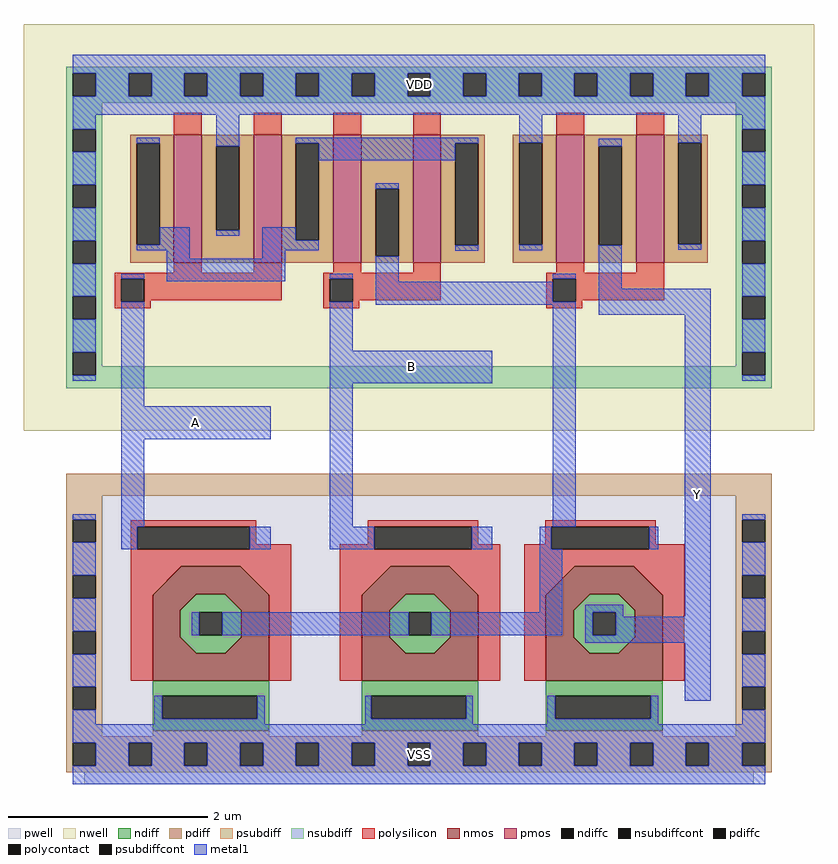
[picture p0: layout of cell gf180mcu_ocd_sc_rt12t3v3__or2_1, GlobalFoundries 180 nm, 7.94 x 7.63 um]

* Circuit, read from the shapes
.subckt gf180mcu_ocd_sc_rt12t3v3__or2_1 VDD VSS Y B A
XM1 n1 A VSS VSS nfet_03v3 w=1.785u l=0.5393u
XM2 n1 B VSS VSS nfet_03v3 w=1.785u l=0.5292u
XM3 Y n1 VSS VSS nfet_03v3 w=1.785u l=0.5319u
XM4 VDD A n2 VDD pfet_03v3 w=1.285u l=0.28u m=2
XM5 n1 B n2 VDD pfet_03v3 w=1.285u l=0.28u m=2
XM6 Y n1 VDD VDD pfet_03v3 w=1.285u l=0.28u m=2
.ends

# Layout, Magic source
magic
tech gf180mcuD
magscale 1 10
<< nwell >>
rect -122 649 1466 1466
<< pwell >>
rect -36 -36 1380 563
rect 0 -60 1344 -36
<< nmos >>
tri 137 319 195 377 se
rect 195 321 313 377
rect 195 319 223 321
tri 223 319 225 321 nw
tri 283 319 285 321 ne
rect 285 319 313 321
tri 313 319 371 377 sw
rect 137 203 193 319
tri 193 289 223 319 nw
tri 285 289 315 319 ne
tri 193 203 225 235 sw
tri 283 203 315 235 se
rect 315 203 371 319
rect 137 147 371 203
tri 557 319 615 377 se
rect 615 321 733 377
rect 615 319 643 321
tri 643 319 645 321 nw
tri 703 319 705 321 ne
rect 705 319 733 321
tri 733 319 791 377 sw
rect 557 203 613 319
tri 613 289 643 319 nw
tri 705 289 735 319 ne
tri 613 203 645 235 sw
tri 703 203 735 235 se
rect 735 203 791 319
rect 557 147 791 203
tri 927 319 985 377 se
rect 985 321 1103 377
rect 985 319 1013 321
tri 1013 319 1015 321 nw
tri 1073 319 1075 321 ne
rect 1075 319 1103 321
tri 1103 319 1161 377 sw
rect 927 203 983 319
tri 983 289 1013 319 nw
tri 1075 289 1105 319 ne
tri 983 203 1015 235 sw
tri 1073 203 1105 235 se
rect 1105 203 1161 319
rect 927 147 1161 203
<< pmos >>
rect 180 987 236 1244
rect 340 987 396 1244
rect 500 987 556 1244
rect 660 987 716 1244
rect 948 987 1004 1244
rect 1108 987 1164 1244
<< ndiff >>
tri 223 319 225 321 se
rect 225 319 283 321
tri 283 319 285 321 sw
tri 193 289 223 319 se
rect 223 289 285 319
tri 285 289 315 319 sw
rect 193 285 315 289
rect 193 239 231 285
rect 277 239 315 285
rect 193 235 315 239
tri 193 203 225 235 ne
rect 225 203 283 235
tri 283 203 315 235 nw
tri 643 319 645 321 se
rect 645 319 703 321
tri 703 319 705 321 sw
tri 613 289 643 319 se
rect 643 289 705 319
tri 705 289 735 319 sw
rect 613 285 735 289
rect 613 239 651 285
rect 697 239 735 285
rect 613 235 735 239
tri 613 203 645 235 ne
rect 645 203 703 235
tri 703 203 735 235 nw
tri 1013 319 1015 321 se
rect 1015 319 1073 321
tri 1073 319 1075 321 sw
tri 983 289 1013 319 se
rect 1013 289 1075 319
tri 1075 289 1105 319 sw
rect 983 285 1105 289
rect 983 239 1021 285
rect 1067 239 1105 285
rect 983 235 1105 239
tri 983 203 1015 235 ne
rect 1015 203 1073 235
tri 1073 203 1105 235 nw
rect 137 117 371 147
rect 137 71 156 117
rect 347 71 371 117
rect 137 47 371 71
rect 557 117 791 147
rect 557 71 576 117
rect 767 71 791 117
rect 557 47 791 71
rect 927 117 1161 147
rect 927 71 946 117
rect 1137 71 1161 117
rect 927 47 1161 71
<< pdiff >>
rect 92 1227 180 1244
rect 92 1023 105 1227
rect 151 1023 180 1227
rect 92 987 180 1023
rect 236 1221 340 1244
rect 236 1052 265 1221
rect 311 1052 340 1221
rect 236 987 340 1052
rect 396 1227 500 1244
rect 396 1032 425 1227
rect 471 1032 500 1227
rect 396 987 500 1032
rect 556 1135 660 1244
rect 556 1000 585 1135
rect 631 1000 660 1135
rect 556 987 660 1000
rect 716 1227 804 1244
rect 716 1022 745 1227
rect 791 1022 804 1227
rect 716 987 804 1022
rect 860 1228 948 1244
rect 860 1023 873 1228
rect 919 1023 948 1228
rect 860 987 948 1023
rect 1004 1221 1108 1244
rect 1004 1022 1033 1221
rect 1079 1022 1108 1221
rect 1004 987 1108 1022
rect 1164 1228 1252 1244
rect 1164 1024 1193 1228
rect 1239 1024 1252 1228
rect 1164 987 1252 1024
<< ndiffc >>
rect 231 239 277 285
rect 651 239 697 285
rect 1021 239 1067 285
rect 156 71 347 117
rect 576 71 767 117
rect 946 71 1137 117
<< pdiffc >>
rect 105 1023 151 1227
rect 265 1052 311 1221
rect 425 1032 471 1227
rect 585 1000 631 1135
rect 745 1022 791 1227
rect 873 1023 919 1228
rect 1033 1022 1079 1221
rect 1193 1024 1239 1228
<< psubdiff >>
rect -36 519 1380 563
rect -36 471 36 519
rect -36 425 -23 471
rect 23 425 36 471
rect 1308 471 1380 519
rect -36 359 36 425
rect -36 313 -23 359
rect 23 313 36 359
rect -36 247 36 313
rect -36 201 -23 247
rect 23 201 36 247
rect -36 135 36 201
rect 1308 425 1321 471
rect 1367 425 1380 471
rect 1308 359 1380 425
rect 1308 313 1321 359
rect 1367 313 1380 359
rect 1308 247 1380 313
rect 1308 201 1321 247
rect 1367 201 1380 247
rect -36 89 -23 135
rect 23 89 36 135
rect -36 36 36 89
rect 137 36 371 47
rect 557 36 791 47
rect 927 36 1161 47
rect 1308 135 1380 201
rect 1308 89 1321 135
rect 1367 89 1380 135
rect 1308 36 1380 89
rect -36 23 1380 36
rect -36 -23 -23 23
rect 23 -23 89 23
rect 135 -23 201 23
rect 247 -23 313 23
rect 359 -23 425 23
rect 471 -23 537 23
rect 583 -23 649 23
rect 695 -23 761 23
rect 807 -23 872 23
rect 918 -23 984 23
rect 1030 -23 1096 23
rect 1142 -23 1208 23
rect 1254 -23 1321 23
rect 1367 -23 1380 23
rect -36 -36 1380 -23
<< nsubdiff >>
rect -36 1367 1380 1380
rect -36 1321 -23 1367
rect 23 1321 89 1367
rect 135 1321 201 1367
rect 247 1321 313 1367
rect 359 1321 425 1367
rect 471 1321 537 1367
rect 583 1321 649 1367
rect 695 1321 761 1367
rect 807 1321 872 1367
rect 918 1321 984 1367
rect 1030 1321 1096 1367
rect 1142 1321 1208 1367
rect 1254 1321 1321 1367
rect 1367 1321 1380 1367
rect -36 1308 1380 1321
rect -36 1255 36 1308
rect -36 1209 -23 1255
rect 23 1209 36 1255
rect 1308 1255 1380 1308
rect -36 1143 36 1209
rect -36 1097 -23 1143
rect 23 1097 36 1143
rect -36 1031 36 1097
rect -36 985 -23 1031
rect 23 985 36 1031
rect 1308 1209 1321 1255
rect 1367 1209 1380 1255
rect 1308 1143 1380 1209
rect 1308 1097 1321 1143
rect 1367 1097 1380 1143
rect 1308 1031 1380 1097
rect -36 919 36 985
rect -36 873 -23 919
rect 23 873 36 919
rect 1308 985 1321 1031
rect 1367 985 1380 1031
rect 1308 919 1380 985
rect -36 807 36 873
rect -36 761 -23 807
rect 23 779 36 807
rect 1308 873 1321 919
rect 1367 873 1380 919
rect 1308 807 1380 873
rect 1308 779 1321 807
rect 23 761 1321 779
rect 1367 761 1380 807
rect -36 735 1380 761
<< psubdiffcont >>
rect -23 425 23 471
rect -23 313 23 359
rect -23 201 23 247
rect 1321 425 1367 471
rect 1321 313 1367 359
rect 1321 201 1367 247
rect -23 89 23 135
rect 1321 89 1367 135
rect -23 -23 23 23
rect 89 -23 135 23
rect 201 -23 247 23
rect 313 -23 359 23
rect 425 -23 471 23
rect 537 -23 583 23
rect 649 -23 695 23
rect 761 -23 807 23
rect 872 -23 918 23
rect 984 -23 1030 23
rect 1096 -23 1142 23
rect 1208 -23 1254 23
rect 1321 -23 1367 23
<< nsubdiffcont >>
rect -23 1321 23 1367
rect 89 1321 135 1367
rect 201 1321 247 1367
rect 313 1321 359 1367
rect 425 1321 471 1367
rect 537 1321 583 1367
rect 649 1321 695 1367
rect 761 1321 807 1367
rect 872 1321 918 1367
rect 984 1321 1030 1367
rect 1096 1321 1142 1367
rect 1208 1321 1254 1367
rect 1321 1321 1367 1367
rect -23 1209 23 1255
rect -23 1097 23 1143
rect -23 985 23 1031
rect 1321 1209 1367 1255
rect 1321 1097 1367 1143
rect -23 873 23 919
rect 1321 985 1367 1031
rect -23 761 23 807
rect 1321 873 1367 919
rect 1321 761 1367 807
<< polysilicon >>
rect 180 1244 236 1288
rect 340 1244 396 1288
rect 500 1244 556 1288
rect 660 1244 716 1288
rect 948 1244 1004 1288
rect 1108 1244 1164 1288
rect 180 967 236 987
rect 340 967 396 987
rect 500 967 556 987
rect 660 967 716 987
rect 948 967 1004 987
rect 1108 967 1164 987
rect 61 954 396 967
rect 61 908 74 954
rect 120 911 396 954
rect 480 954 716 967
rect 120 908 133 911
rect 61 895 133 908
rect 480 908 493 954
rect 539 911 716 954
rect 928 954 1164 967
rect 539 908 552 911
rect 480 895 552 908
rect 928 908 941 954
rect 987 911 1164 954
rect 987 908 1000 911
rect 928 895 1000 908
rect 93 457 345 470
rect 93 411 106 457
rect 332 421 345 457
rect 569 457 791 470
rect 569 421 582 457
rect 332 411 415 421
rect 93 377 415 411
rect 93 147 137 377
tri 137 319 195 377 nw
tri 313 319 371 377 ne
rect 371 147 415 377
rect 513 411 582 421
rect 778 421 791 457
rect 925 457 1147 470
rect 925 421 938 457
rect 778 411 835 421
rect 513 377 835 411
rect 513 147 557 377
tri 557 319 615 377 nw
tri 733 319 791 377 ne
rect 791 147 835 377
rect 883 411 938 421
rect 1134 421 1147 457
rect 1134 411 1205 421
rect 883 377 1205 411
rect 883 147 927 377
tri 927 319 985 377 nw
tri 1103 319 1161 377 ne
rect 1161 147 1205 377
<< polycontact >>
rect 74 908 120 954
rect 493 908 539 954
rect 941 908 987 954
rect 106 411 332 457
rect 582 411 778 457
rect 938 411 1134 457
<< metal1 >>
rect -23 1367 1367 1404
rect 23 1321 89 1367
rect 135 1321 201 1367
rect 247 1321 313 1367
rect 359 1321 425 1367
rect 471 1321 537 1367
rect 583 1321 649 1367
rect 695 1321 761 1367
rect 807 1321 872 1367
rect 918 1321 984 1367
rect 1030 1321 1096 1367
rect 1142 1321 1208 1367
rect 1254 1321 1321 1367
rect -23 1284 1367 1321
rect -23 1255 23 1284
rect -23 1143 23 1209
rect -23 1031 23 1097
rect 105 1227 151 1238
rect 265 1221 311 1284
rect 151 1023 212 1058
rect 425 1227 791 1238
rect 265 1041 311 1052
rect 105 1012 212 1023
rect -23 919 23 985
rect 166 995 212 1012
rect 357 1032 425 1058
rect 471 1192 745 1227
rect 357 1012 471 1032
rect 585 1135 631 1146
rect 357 995 403 1012
rect -23 807 23 873
rect -23 750 23 761
rect 74 954 120 965
rect 166 949 403 995
rect 745 1011 791 1022
rect 873 1228 919 1284
rect 873 1012 919 1023
rect 1033 1221 1079 1236
rect 493 954 539 965
rect 74 698 120 908
rect 493 810 539 908
rect 585 948 631 1000
rect 941 954 987 965
rect 585 908 941 948
rect 585 902 987 908
rect 493 745 819 810
rect 74 632 374 698
rect -23 471 23 482
rect -23 359 23 425
rect 74 457 120 632
rect 493 457 539 745
rect 941 457 987 902
rect 1033 934 1079 1022
rect 1193 1228 1239 1284
rect 1193 1013 1239 1024
rect 1321 1255 1367 1284
rect 1321 1143 1367 1209
rect 1321 1031 1367 1097
rect 1033 882 1258 934
rect 74 411 106 457
rect 332 411 374 457
rect 493 411 582 457
rect 778 411 819 457
rect 914 411 938 457
rect 1134 411 1152 457
rect -23 247 23 313
rect 914 285 960 411
rect 216 239 231 285
rect 277 239 651 285
rect 697 239 960 285
rect 1006 285 1082 300
rect 1006 239 1021 285
rect 1067 276 1082 285
rect 1206 276 1258 882
rect 1321 919 1367 985
rect 1321 807 1367 873
rect 1321 750 1367 761
rect 1067 239 1258 276
rect 1006 224 1258 239
rect -23 135 23 201
rect -23 60 23 89
rect 140 71 156 117
rect 347 71 362 117
rect 140 60 362 71
rect 564 71 576 117
rect 767 71 780 117
rect 564 60 780 71
rect 930 71 946 117
rect 1137 71 1152 117
rect 1206 107 1258 224
rect 1321 471 1367 482
rect 1321 359 1367 425
rect 1321 247 1367 313
rect 1321 135 1367 201
rect 930 60 1152 71
rect 1321 60 1367 89
rect -23 23 1367 60
rect 23 -23 89 23
rect 135 -23 201 23
rect 247 -23 313 23
rect 359 -23 425 23
rect 471 -23 537 23
rect 583 -23 649 23
rect 695 -23 761 23
rect 807 -23 872 23
rect 918 -23 984 23
rect 1030 -23 1096 23
rect 1142 -23 1208 23
rect 1254 -23 1321 23
rect -23 -60 1367 -23
<< labels >>
flabel metal1 s 0 -60 1344 60 0 FreeSans 400 0 0 0 VSS
port 4 nsew ground bidirectional abutment
flabel metal1 s 1206 107 1258 934 0 FreeSans 320 0 0 0 Y
port 8 nsew
flabel metal1 s 0 1284 1344 1404 0 FreeSans 400 0 0 0 VDD
port 1 nsew power bidirectional abutment
flabel metal1 s 74 632 374 698 0 FreeSans 320 0 0 0 A
port 10 nsew
flabel metal1 s 493 745 819 810 0 FreeSans 320 0 0 0 B
port 9 nsew
<< properties >>
string FIXED_BBOX 0 0 1344 1344
<< end >>
